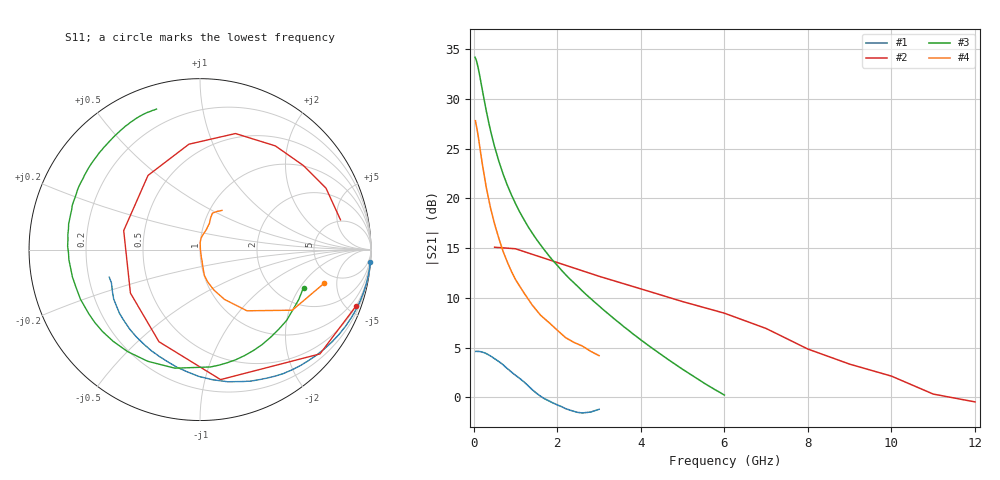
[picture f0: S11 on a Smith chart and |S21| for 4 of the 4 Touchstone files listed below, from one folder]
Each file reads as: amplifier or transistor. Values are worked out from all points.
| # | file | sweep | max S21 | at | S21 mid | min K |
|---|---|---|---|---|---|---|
| 1 | 2BF996S.s2p | 50 MHz to 3 GHz | 4.6 dB | 70 MHz | 3.3 dB at 700 MHz | -0.02 |
| 2 | ATF10236.s2p | 500 MHz to 12 GHz | 15.1 dB | 500 MHz | 8.5 dB at 6 GHz | 0.25 |
| 3 | BFP780.s2p | 30 MHz to 6 GHz | 34.2 dB | 30 MHz | 11.9 dB at 2.3 GHz | 0.14 |
| 4 | BFR90AC.s2p | 40 MHz to 3 GHz | 27.8 dB | 40 MHz | 11.8 dB at 1 GHz | 0.20 |
